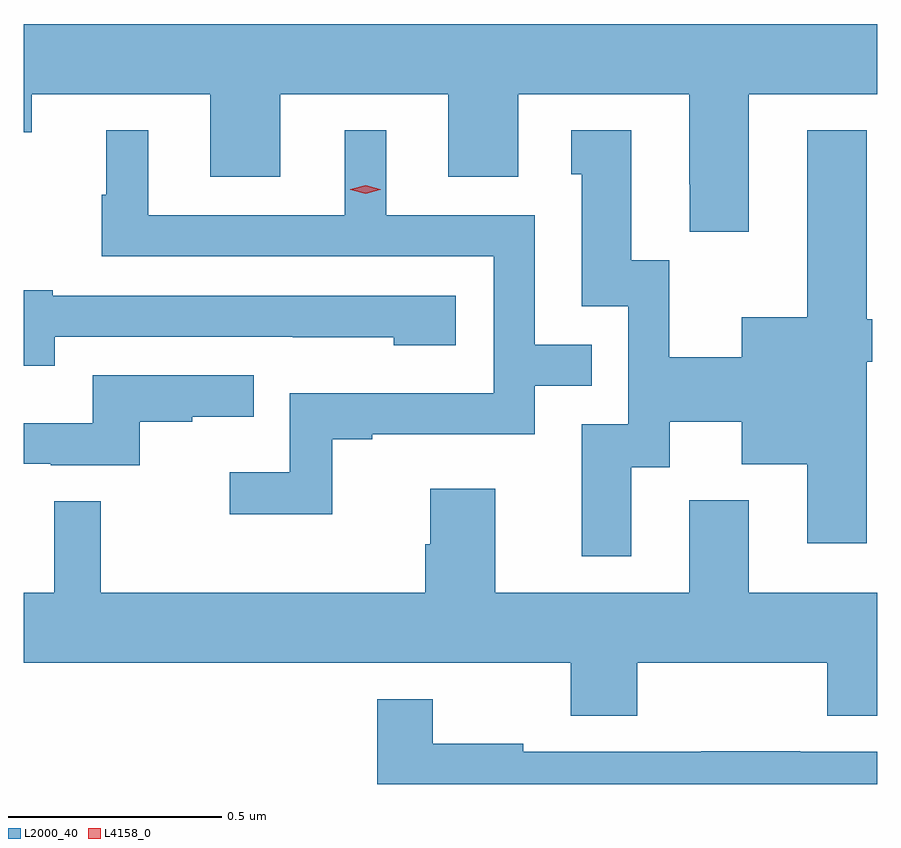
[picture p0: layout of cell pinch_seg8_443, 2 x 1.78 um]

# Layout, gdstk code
import gdstk
lib = gdstk.Library(unit=1e-6, precision=1e-09)
def P(c, l, *ps):  # polygons
    for p in ps: c.add(gdstk.Polygon(p, *l))
L2000_40 = (2000, 40)
L4158_0 = (4158, 0)

pinch_seg8_443 = lib.new_cell('pinch_seg8_443')
P(pinch_seg8_443, L2000_40, [(266.371,1127.156),(266.672,1127.156),(266.672,1127.32),(264.672,1127.32),(264.672,1127.066),(264.691,1127.066),(264.691,1127.156),(265.109,1127.156),(265.109,1126.962),(265.273,1126.962),(265.273,1127.156),(265.667,1127.156),(265.667,1126.962),(265.831,1126.962),(265.831,1127.156),(266.231,1127.156),(266.231,1126.945),(266.232,1126.945),(266.232,1126.833),(266.371,1126.833)],
  [(266.095,1126.282),(266.185,1126.282),(266.185,1126.388),(266.354,1126.388),(266.354,1126.289),(266.507,1126.289),(266.507,1126.104),(266.647,1126.104),(266.647,1126.529),(266.66,1126.529),(266.66,1126.629),(266.647,1126.629),(266.647,1127.071),(266.507,1127.071),(266.507,1126.633),(266.354,1126.633),(266.354,1126.54),(266.184,1126.54),(266.184,1126.767),(266.095,1126.767),(266.095,1127.071),(265.955,1127.071),(265.955,1126.968),(265.979,1126.968),(265.979,1126.659),(266.088,1126.659),(266.088,1126.383),(265.979,1126.383),(265.979,1126.074),(266.095,1126.074)],
  [(265.395,1126.347),(265.489,1126.347),(265.489,1126.359),(265.869,1126.359),(265.869,1126.473),(266.003,1126.473),(266.003,1126.569),(265.869,1126.569),(265.869,1126.872),(265.522,1126.872),(265.522,1127.071),(265.424,1127.071),(265.424,1126.872),(264.964,1126.872),(264.964,1127.071),(264.866,1127.071),(264.866,1126.92),(264.855,1126.92),(264.855,1126.776),(265.773,1126.776),(265.773,1126.455),(265.296,1126.455),(265.296,1126.27),(265.155,1126.27),(265.155,1126.172),(265.395,1126.172)],
  [(264.745,1126.587),(265.303,1126.587),(265.303,1126.586),(265.539,1126.586),(265.539,1126.568),(265.684,1126.568),(265.684,1126.683),(264.741,1126.683),(264.741,1126.696),(264.672,1126.696),(264.672,1126.52),(264.745,1126.52)],
  [(264.944,1126.389),(265.067,1126.389),(265.067,1126.4),(265.211,1126.4),(265.211,1126.497),(264.834,1126.497),(264.834,1126.385),(264.672,1126.385),(264.672,1126.29),(264.736,1126.29),(264.736,1126.287),(264.944,1126.287)],
  [(265.777,1126.231),(265.625,1126.231),(265.625,1126.101),(265.613,1126.101),(265.613,1125.988),(264.853,1125.988),(264.853,1126.202),(264.744,1126.202),(264.744,1125.988),(264.672,1125.988),(264.672,1125.824),(265.954,1125.824),(265.954,1125.7),(266.109,1125.7),(266.109,1125.824),(266.554,1125.824),(266.554,1125.7),(266.672,1125.7),(266.672,1125.988),(266.371,1125.988),(266.371,1126.204),(266.231,1126.204),(266.231,1125.988),(265.777,1125.988)],
  [(266.672,1125.615),(266.491,1125.615),(266.491,1125.617),(266.259,1125.617),(266.259,1125.615),(265.842,1125.615),(265.842,1125.634),(265.63,1125.634),(265.63,1125.739),(265.501,1125.739),(265.501,1125.54),(266.672,1125.54)])
P(pinch_seg8_443, L4158_0, [(265.473,1126.922),(265.437,1126.932),(265.437,1126.932),(265.437,1126.933),(265.473,1126.942),(265.508,1126.933),(265.509,1126.932),(265.508,1126.932)])

lib.write_gds('pinch_seg8_443.gds')
